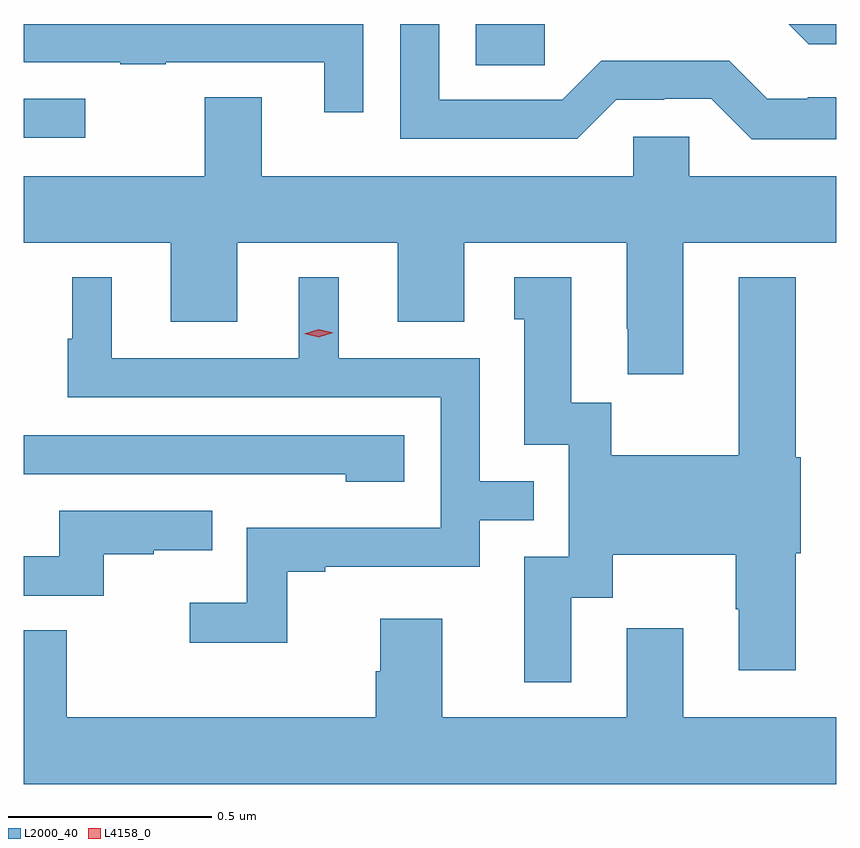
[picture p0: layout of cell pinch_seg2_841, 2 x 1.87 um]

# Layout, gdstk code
import gdstk
lib = gdstk.Library(unit=1e-6, precision=1e-09)
def R(c, l, rs):  # rectangles x0, y0, x1, y1
    for r in rs: c.add(gdstk.rectangle(r[:2], r[2:], *l))
def P(c, l, *ps):  # polygons
    for p in ps: c.add(gdstk.Polygon(p, *l))
L2000_40 = (2000, 40)
L4158_0 = (4158, 0)

pinch_seg2_841 = lib.new_cell('pinch_seg2_841')
R(pinch_seg2_841, L2000_40, [(694.095,618.591,694.246,618.687)])
P(pinch_seg2_841, L2000_40, [(696.095,618.691),(696.025,618.691),(696.025,618.687),(695.925,618.687),(695.832,618.78),(695.517,618.78),(695.421,618.684),(695.118,618.684),(695.118,618.871),(695.022,618.871),(695.022,618.588),(695.457,618.588),(695.553,618.684),(695.672,618.684),(695.672,618.687),(695.787,618.687),(695.887,618.587),(696.095,618.587)],
  [(695.377,618.87),(695.304,618.87),(695.304,618.871),(695.208,618.871),(695.208,618.769),(695.377,618.769)],
  [(696.095,618.871),(695.978,618.871),(696.028,618.821),(696.095,618.821)],
  [(694.931,618.871),(694.095,618.871),(694.095,618.777),(694.333,618.777),(694.333,618.772),(694.445,618.772),(694.445,618.777),(694.835,618.777),(694.835,618.654),(694.931,618.654)],
  [(695.882,618.871),(695.509,618.871),(695.51,618.87),(695.882,618.87)],
  [(695.719,618.332),(696.095,618.332),(696.095,618.496),(695.733,618.496),(695.733,618.594),(695.595,618.594),(695.595,618.496),(694.681,618.496),(694.681,618.691),(694.541,618.691),(694.541,618.496),(694.095,618.496),(694.095,618.332),(694.457,618.332),(694.457,618.138),(694.621,618.138),(694.621,618.332),(695.015,618.332),(695.015,618.138),(695.179,618.138),(695.179,618.332),(695.579,618.332),(695.579,618.121),(695.582,618.121),(695.582,618.009),(695.719,618.009)],
  [(695.443,617.458),(695.545,617.458),(695.545,617.564),(695.848,617.564),(695.848,617.43),(695.855,617.43),(695.855,617.28),(695.995,617.28),(695.995,617.568),(696.008,617.568),(696.008,617.805),(695.995,617.805),(695.995,618.247),(695.855,618.247),(695.855,617.809),(695.541,617.809),(695.541,617.939),(695.443,617.939),(695.443,618.247),(695.303,618.247),(695.303,618.144),(695.327,618.144),(695.327,617.835),(695.436,617.835),(695.436,617.559),(695.327,617.559),(695.327,617.25),(695.443,617.25)],
  [(694.743,617.523),(694.837,617.523),(694.837,617.535),(695.217,617.535),(695.217,617.649),(695.351,617.649),(695.351,617.745),(695.217,617.745),(695.217,618.048),(694.87,618.048),(694.87,618.247),(694.772,618.247),(694.772,618.048),(694.312,618.048),(694.312,618.247),(694.214,618.247),(694.214,618.096),(694.203,618.096),(694.203,617.952),(695.121,617.952),(695.121,617.631),(694.644,617.631),(694.644,617.446),(694.503,617.446),(694.503,617.348),(694.743,617.348)],
  [(695.032,617.859),(694.095,617.859),(694.095,617.763),(694.651,617.763),(694.651,617.762),(694.887,617.762),(694.887,617.744),(695.032,617.744)],
  [(694.292,617.565),(694.415,617.565),(694.415,617.576),(694.559,617.576),(694.559,617.673),(694.182,617.673),(694.182,617.561),(694.095,617.561),(694.095,617.463),(694.292,617.463)],
  [(696.095,617.164),(695.719,617.164),(695.719,617.383),(695.579,617.383),(695.579,617.164),(695.125,617.164),(695.125,617.407),(694.973,617.407),(694.973,617.277),(694.961,617.277),(694.961,617.164),(694.201,617.164),(694.201,617.378),(694.095,617.378),(694.095,617),(696.095,617)])
P(pinch_seg2_841, L4158_0, [(694.821,618.1),(694.785,618.108),(694.785,618.108),(694.785,618.109),(694.821,618.12),(694.857,618.111),(694.857,618.111),(694.857,618.111)])

lib.write_gds('pinch_seg2_841.gds')
